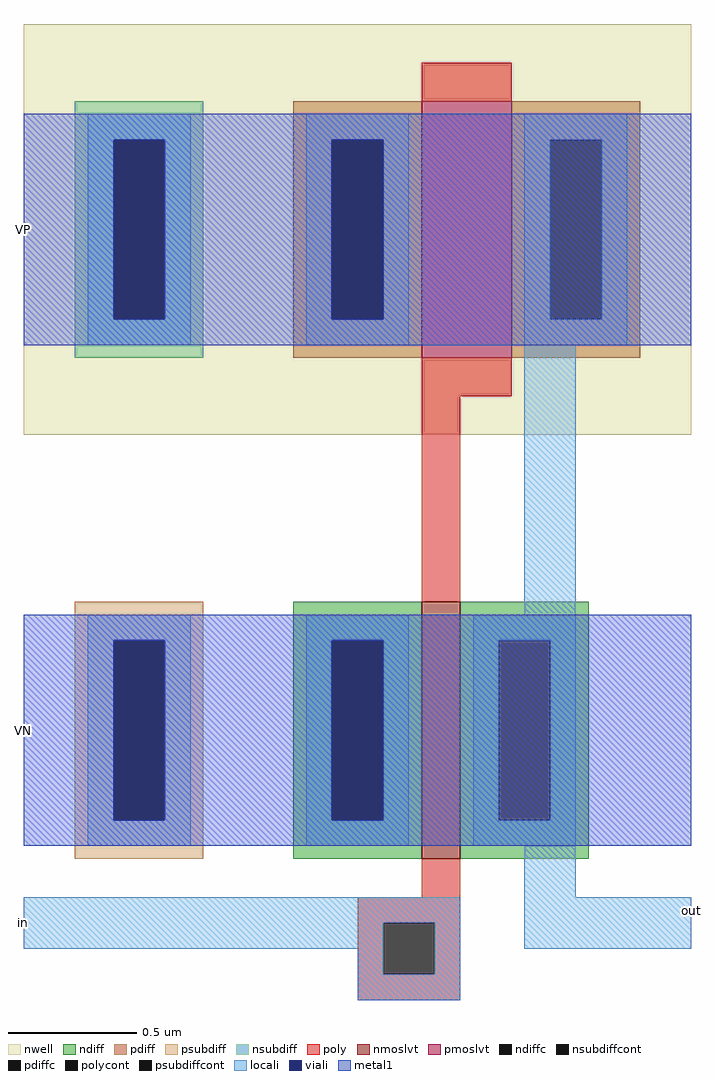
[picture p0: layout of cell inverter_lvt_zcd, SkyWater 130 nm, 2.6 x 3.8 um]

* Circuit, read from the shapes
.subckt inverter_lvt_zcd in out VP VN
XM1 out in VN VN sky130_fd_pr__nfet_01v8_lvt w=1 l=0.15
XM2 out in VP VP sky130_fd_pr__pfet_01v8_lvt w=1 l=0.35
.ends

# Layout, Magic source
magic
tech sky130A
<< nwell >>
rect -185 140 75 300
<< pmoslvt >>
rect -30 170 5 270
<< nmoslvt >>
rect -30 -25 -15 75
<< ndiff >>
rect -80 60 -30 75
rect -80 -10 -65 60
rect -45 -10 -30 60
rect -80 -25 -30 -10
rect -15 60 35 75
rect -15 -10 0 60
rect 20 -10 35 60
rect -15 -25 35 -10
<< pdiff >>
rect -80 255 -30 270
rect -80 185 -65 255
rect -45 185 -30 255
rect -80 170 -30 185
rect 5 255 55 270
rect 5 185 20 255
rect 40 185 55 255
rect 5 170 55 185
<< ndiffc >>
rect -65 -10 -45 60
rect 0 -10 20 60
<< pdiffc >>
rect -65 185 -45 255
rect 20 185 40 255
<< psubdiff >>
rect -165 60 -115 75
rect -165 -10 -150 60
rect -130 -10 -115 60
rect -165 -25 -115 -10
<< nsubdiff >>
rect -165 255 -115 270
rect -165 185 -150 255
rect -130 185 -115 255
rect -165 170 -115 185
<< psubdiffcont >>
rect -150 -10 -130 60
<< nsubdiffcont >>
rect -150 185 -130 255
<< poly >>
rect -30 270 5 285
rect -30 155 5 170
rect -30 75 -15 155
rect -30 -40 -15 -25
rect -55 -50 -15 -40
rect -55 -70 -45 -50
rect -25 -70 -15 -50
rect -55 -80 -15 -70
<< polycont >>
rect -45 -70 -25 -50
<< locali >>
rect -160 255 -120 265
rect -160 185 -150 255
rect -130 185 -120 255
rect -160 175 -120 185
rect -75 255 -35 265
rect -75 185 -65 255
rect -45 185 -35 255
rect -75 175 -35 185
rect 10 255 50 265
rect 10 185 20 255
rect 40 185 50 255
rect 10 175 50 185
rect 10 70 30 175
rect -160 60 -120 70
rect -160 -10 -150 60
rect -130 -10 -120 60
rect -160 -20 -120 -10
rect -75 60 -35 70
rect -75 -10 -65 60
rect -45 -10 -35 60
rect -75 -20 -35 -10
rect -10 60 30 70
rect -10 -10 0 60
rect 20 -10 30 60
rect -10 -20 30 -10
rect 10 -40 30 -20
rect -185 -50 -15 -40
rect -185 -60 -45 -50
rect -55 -70 -45 -60
rect -25 -70 -15 -50
rect 10 -60 75 -40
rect -55 -80 -15 -70
<< viali >>
rect -150 185 -130 255
rect -65 185 -45 255
rect -150 -10 -130 60
rect -65 -10 -45 60
<< metal1 >>
rect -185 255 75 265
rect -185 185 -150 255
rect -130 185 -65 255
rect -45 185 75 255
rect -185 175 75 185
rect -185 60 75 70
rect -185 -10 -150 60
rect -130 -10 -65 60
rect -45 -10 75 60
rect -185 -20 75 -10
<< labels >>
rlabel metal1 -185 220 -185 220 7 VP
port 3 w
rlabel metal1 -185 25 -185 25 7 VN
port 4 w
rlabel locali -185 -50 -185 -50 7 in
port 1 w
rlabel locali 75 -45 75 -45 3 out
port 2 e
<< end >>
